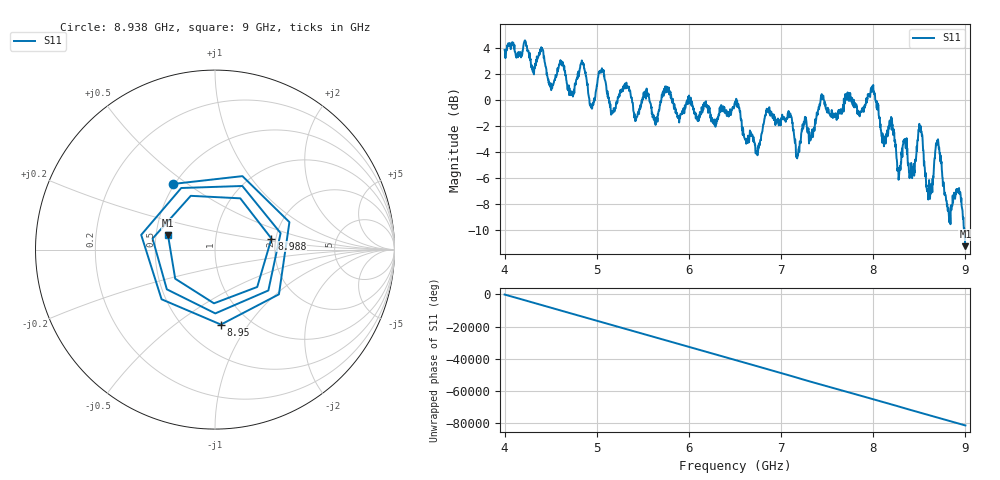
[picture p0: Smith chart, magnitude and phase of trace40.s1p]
! Created with skrf 1.8.0 (http://scikit-rf.org).
# Hz S RI R 50.0
!freq ReS11 ImS11
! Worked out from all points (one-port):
!   1601 points, 4 GHz to 9 GHz, reference 50 ohm
!   lowest |S11| = -11.2 dB at 9 GHz (marker M1), VSWR 1.75, Z = 28.9 + j5.02 ohm
!   |S11| at or under -10 dB: 8.990015 GHz to end of sweep
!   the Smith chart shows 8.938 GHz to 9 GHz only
!   S11 on the Smith chart (normalised r, x): 8.938 GHz: 0.49, +0.44; 8.95 GHz: 0.74, -0.75; 8.988 GHz: 1.89, +0.26; 9 GHz: 0.58, +0.10
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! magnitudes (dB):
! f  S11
! 4 GHz  3.8
! 4.503 GHz  0.8
! 4.625 GHz  2.6
! 4.725 GHz  0.6
! 4.847 GHz  2.8
! 4.947 GHz  -0.7
! 5.05 GHz  2.3
! 5.166 GHz  -1.0
! 5.25 GHz  0.5
! 5.875 GHz  -1.3
! 6.5 GHz  -0.3
! 6.734 GHz  -4.1
! 6.856 GHz  -1.0
! 7.125 GHz  -1.8
! 7.188 GHz  -3.8
! 7.444 GHz  0.0
! 7.75 GHz  0.5
! 7.994 GHz  0.9
! 8.109 GHz  -3.0
! 8.375 GHz  -4.9
! 8.509 GHz  -2.4
! 8.6 GHz  -7.1
! 8.697 GHz  -3.3
! 8.812 GHz  -8.3
! 8.938 GHz  -7.3
! 8.95 GHz  -7.6
! 8.988 GHz  -9.9
! 9 GHz  -11.2
